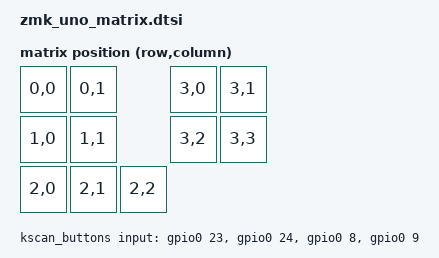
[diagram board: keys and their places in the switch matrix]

#include <dt-bindings/zmk/matrix_transform.h>

// Add the DK's four push buttons to the matrix
/ {
    kscan_buttons: kscan_buttons {
        compatible = "zmk,kscan-gpio-direct";

        input-gpios
			= <&gpio0 23 (GPIO_PULL_UP | GPIO_ACTIVE_LOW)>
			, <&gpio0 24 (GPIO_PULL_UP | GPIO_ACTIVE_LOW)>
			, <&gpio0 8 (GPIO_PULL_UP | GPIO_ACTIVE_LOW)>
			, <&gpio0 9 (GPIO_PULL_UP | GPIO_ACTIVE_LOW)>
			;
    };
};

&kscan_matrix_comp {
    buttons {
        kscan = <&kscan_buttons>;
        row-offset = <3>;
    };
};

&matrix_transform {
    rows = <3>;
    columns = <4>;

    map = <
        RC(0,0) RC(0,1)             RC(3,0) RC(3,1)
        RC(1,0) RC(1,1)             RC(3,2) RC(3,3)
        RC(2,0) RC(2,1) RC(2,2)
    >;
};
